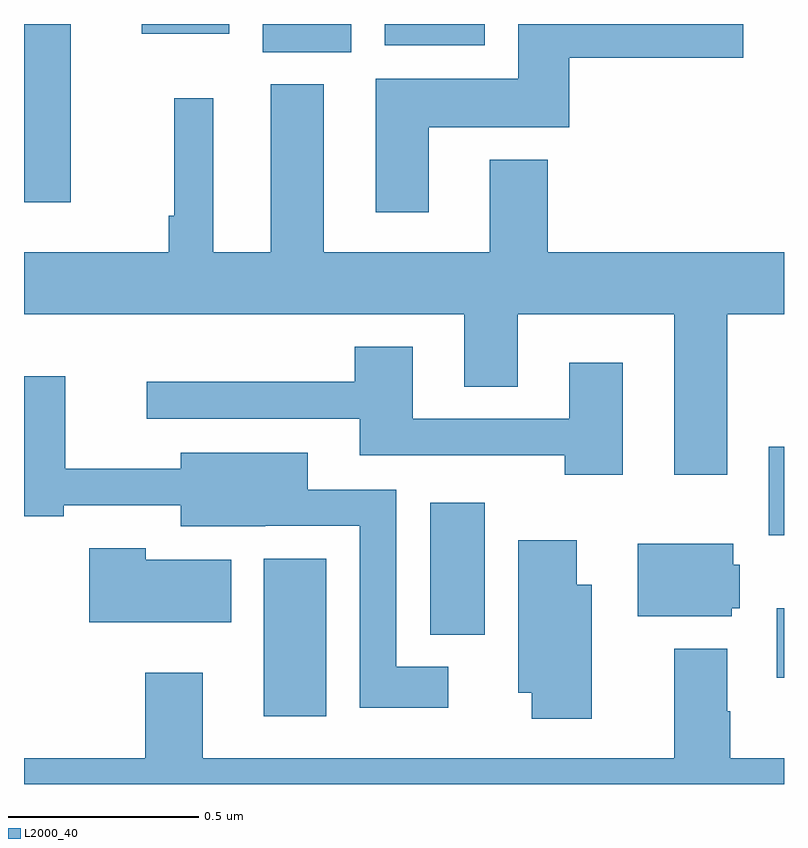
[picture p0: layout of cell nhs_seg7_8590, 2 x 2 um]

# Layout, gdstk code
import gdstk
lib = gdstk.Library(unit=1e-6, precision=1e-09)
def R(c, l, rs):  # rectangles x0, y0, x1, y1
    for r in rs: c.add(gdstk.rectangle(r[:2], r[2:], *l))
def P(c, l, *ps):  # polygons
    for p in ps: c.add(gdstk.Polygon(p, *l))
L2000_40 = (2000, 40)

nhs_seg7_8590 = lib.new_cell('nhs_seg7_8590')
R(nhs_seg7_8590, L2000_40, [(226.631,1046.178,226.795,1046.593), (227.981,1046.28,228,1046.462), (227.069,1046.393,227.212,1046.74), (227.96,1046.654,228,1046.887), (226,1047.531,226.123,1048), (226.628,1047.926,226.861,1048), (226.949,1047.944,227.212,1048), (226.31,1047.974,226.54,1048)])
P(nhs_seg7_8590, L2000_40, [(227.065,1047.728),(227.435,1047.728),(227.435,1047.911),(227.893,1047.911),(227.893,1048),(227.3,1048),(227.3,1047.856),(226.925,1047.856),(226.925,1047.504),(227.065,1047.504)],
  [(227.851,1047.236),(228,1047.236),(228,1047.4),(227.378,1047.4),(227.378,1047.643),(227.225,1047.643),(227.225,1047.4),(226.789,1047.4),(226.789,1047.841),(226.649,1047.841),(226.649,1047.4),(226.498,1047.4),(226.498,1047.805),(226.396,1047.805),(226.396,1047.496),(226.381,1047.496),(226.381,1047.4),(226,1047.4),(226,1047.236),(227.159,1047.236),(227.159,1047.046),(227.299,1047.046),(227.299,1047.236),(227.711,1047.236),(227.711,1046.814),(227.851,1046.814)],
  [(227.575,1047.109),(227.435,1047.109),(227.435,1046.961),(227.023,1046.961),(227.023,1047.151),(226.871,1047.151),(226.871,1047.058),(226.323,1047.058),(226.323,1046.961),(226.883,1046.961),(226.883,1046.865),(227.423,1046.865),(227.423,1046.814),(227.575,1046.814)],
  [(227.116,1046.308),(226.98,1046.308),(226.98,1046.775),(226.747,1046.775),(226.747,1046.872),(226.412,1046.872),(226.412,1046.83),(226.108,1046.83),(226.108,1047.073),(226,1047.073),(226,1046.705),(226.104,1046.705),(226.104,1046.733),(226.412,1046.733),(226.412,1046.678),(226.635,1046.678),(226.635,1046.679),(226.884,1046.679),(226.884,1046.201),(227.116,1046.201)],
  [(227.494,1046.524),(227.455,1046.524),(227.455,1046.641),(227.3,1046.641),(227.3,1046.24),(227.336,1046.24),(227.336,1046.172),(227.494,1046.172)],
  [(227.862,1046.463),(227.884,1046.463),(227.884,1046.577),(227.866,1046.577),(227.866,1046.632),(227.615,1046.632),(227.615,1046.441),(227.862,1046.441)],
  [(226.546,1046.59),(226.32,1046.59),(226.32,1046.62),(226.172,1046.62),(226.172,1046.426),(226.546,1046.426)],
  [(228,1046.068),(227.859,1046.068),(227.859,1046.192),(227.851,1046.192),(227.851,1046.356),(227.711,1046.356),(227.711,1046.068),(226.471,1046.068),(226.471,1046.293),(226.319,1046.293),(226.319,1046.068),(226,1046.068),(226,1046),(228,1046)])

lib.write_gds('nhs_seg7_8590.gds')
